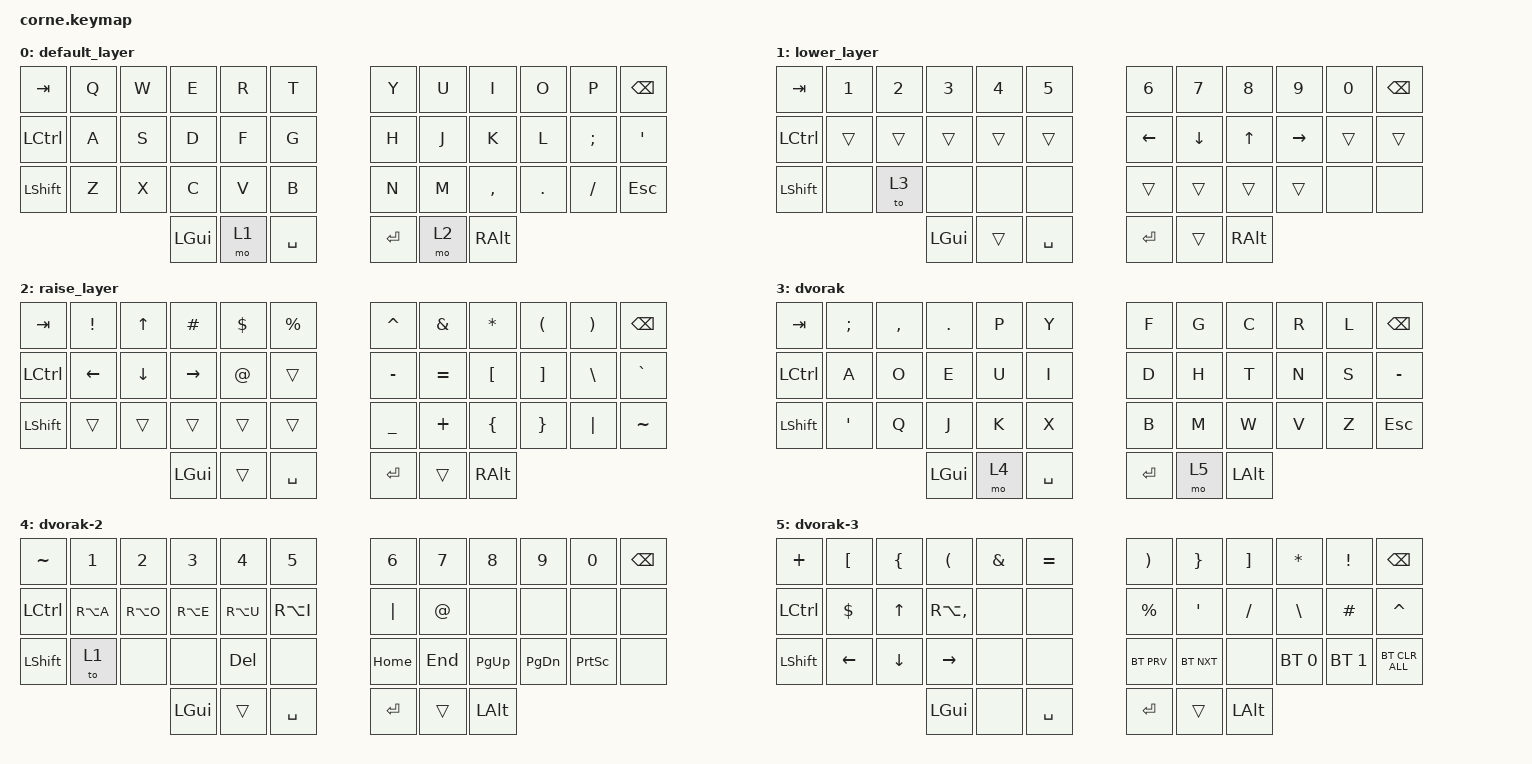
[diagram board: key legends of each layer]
/*
 * Copyright (c) 2020 The ZMK Contributors
 *
 * SPDX-License-Identifier: MIT
 */

#include <behaviors.dtsi>
#include <dt-bindings/zmk/keys.h>
#include <dt-bindings/zmk/bt.h>

/ {
        keymap {
                compatible = "zmk,keymap";

                default_layer {
// -----------------------------------------------------------------------------------------
// |  TAB |  Q  |  W  |  E  |  R  |  T  |   |  Y  |  U   |  I  |  O  |  P  | BSPC |
// | CTRL |  A  |  S  |  D  |  F  |  G  |   |  H  |  J   |  K  |  L  |  ;  |  '   |
// | SHFT |  Z  |  X  |  C  |  V  |  B  |   |  N  |  M   |  ,  |  .  |  /  | ESC  |
//                    | GUI | LWR | SPC |   | ENT | RSE  | ALT |
                        bindings = <
   &kp TAB   &kp Q &kp W &kp E &kp R &kp T   &kp Y &kp U  &kp I     &kp O   &kp P    &kp BSPC
   &kp LCTRL &kp A &kp S &kp D &kp F &kp G   &kp H &kp J  &kp K     &kp L   &kp SEMI &kp SQT
   &kp LSHFT &kp Z &kp X &kp C &kp V &kp B   &kp N &kp M  &kp COMMA &kp DOT &kp FSLH &kp ESC
                  &kp LGUI &mo 1 &kp SPACE   &kp RET &mo 2 &kp RALT
                        >;
                };
                lower_layer {
// -----------------------------------------------------------------------------------------
// |  TAB |  1  |  2  |  3  |  4  |  5  |   |  6  |  7  |  8  |  9  |  0  | BSPC |
// | CTRL |     |     |     |     |     |   | LFT | DWN |  UP | RGT |     |      |
// | SHFT |     | TO3 |     |     |     |   |     |     |     |     |     | BTCLR|
//                    | GUI |     | SPC |   | ENT |     | ALT |
                        bindings = <
   &kp TAB    &kp N1       &kp N2       &kp N3       &kp N4       &kp N5         &kp N6   &kp N7   &kp N8 &kp N9    &kp N0 &kp BSPC
   &kp LCTRL  &trans       &trans       &trans       &trans       &trans         &kp LEFT &kp DOWN &kp UP &kp RIGHT &trans &trans
   &kp LSHFT  &none &to 3 &none &none &none   &trans   &trans   &trans &trans    &none &none
                                           &kp LGUI  &trans       &kp SPACE      &kp RET  &trans   &kp RALT
                       >;
                };

                raise_layer {
// -----------------------------------------------------------------------------------------
// |  TAB |  !  |  UP |  #  |  $  |  %  |   |  ^  |  &  |  *  |  (  |  )  | BSPC |
// | CTRL | LFT | DWN | RGT |  @  |     |   |  -  |  =  |  [  |  ]  |  \  |  `   |
// | SHFT |     |     |     |     |     |   |  _  |  +  |  {  |  }  | "|" |  ~   |
//                    | GUI |     | SPC |   | ENT |     | ALT |
                        bindings = <
   &kp  TAB  &kp EXCL &kp UP &kp HASH &kp DLLR &kp PRCNT   &kp CARET &kp AMPS  &kp ASTRK &kp LPAR &kp RPAR &kp BSPC
   &kp LCTRL &kp LEFT   &kp DOWN &kp RIGHT   &kp AT   &trans      &kp MINUS &kp EQUAL &kp LBKT  &kp RBKT &kp BSLH &kp GRAVE
   &kp LSHFT &trans   &trans &trans   &trans   &trans      &kp UNDER &kp PLUS  &kp LBRC  &kp RBRC &kp PIPE &kp TILDE
                             &kp LGUI &trans   &kp SPACE   &kp RET   &trans    &kp RALT
                        >;
                };
                 dvorak {
// -----------------------------------------------------------------------------------------
// |  TAB |  ;  |  ,  |  .  |  p  |  y  |   |  f  |  g  |  c  |  r  |  l  | BSPC |
// | CTRL |  a  |  o  |  e  |  u  |  i  |   |  d  |  h  |  t  |  n  |  s  |  -  |
// | SHFT |  '  |  q  |  j  |  k  |  x  |   |  b  |  m  |  w  |  v  |  z  |  ESC   |
//                    | GUI | MO4 | SPC |   | ENT |  MO5 | ALT |
                   bindings = <
   &kp  TAB  &kp SEMI &kp COMMA &kp DOT &kp P &kp Y   &kp F &kp G  &kp C &kp R &kp L &kp BSPC
   &kp LCTRL &kp A   &kp O &kp E   &kp U  &kp I      &kp D &kp H &kp T  &kp N &kp S &kp MINUS
   &kp LSHFT &kp APOSTROPHE   &kp Q &kp J   &kp K   &kp X      &kp B  &kp M  &kp W  &kp V &kp Z &kp ESC
                             &kp LGUI &mo 4   &kp SPACE   &kp RET   &mo 5    &kp LALT
                        >;
                };
                dvorak-2 {
// -----------------------------------------------------------------------------------------
// |  ~   |  1  |  2  |  3  |  4  |  5  |   |  6  |  7  |  8  |  9  |  0  | BSPC |
// | CTRL |     |     |     |     |     |   |  PIPE  |  @  |    |    |    |      |
// | SHFT | TO1 |     |     | DEL |     |   |  HOME   |  END   |  PAGEUP   | PAGEDOWN  |  PRINTSCREEN  |      |
//                    | GUI |     | SPC |   | ENT |     | ALT |
                        bindings = <
   &kp TILDE   &kp N1 &kp N2 &kp N3 &kp N4 &kp N5   &kp N6 &kp N7  &kp N8 &kp N9 &kp N0 &kp BSPC
   &kp LCTRL &kp RA(A)   &kp RA(O) &kp RA(E)   &kp RA(U)   &kp RA(I)      &kp PIPE  &kp AT &none  &none &none &none
   &kp LSHFT &to 1   &none &none   &kp DEL   &none      &kp HOME  &kp END &kp PG_UP  &kp PG_DN &kp PSCRN &none
                             &kp LGUI &trans   &kp SPACE   &kp RET   &trans    &kp LALT
                        >;
                };
                dvorak-3 {
// ----------------------------------------------------------------------------------------
// |  +   |  [  |  {  |  (  |  &  |  =  |   |  )  |  }  |  ]  |  *  |  !  | BSPC |
// | CTRL |  $  |  UP |  cedila   |     |     |   |  %  |  '  |  /  |  \  |  #  | CARET |
// | SHFT | LFT | DWN | RGT |     |     |   |     |     |     |  btpr1   |  btpr2   |  btclear    |
//                    | GUI |     | SPC |   | ENT |     | ALT |
                        bindings = <
   &kp PLUS  &kp LBKT &kp LBRC &kp LPAR &kp AMPS &kp EQUAL   &kp RPAR  &kp RBRC  &kp RBKT &kp ASTRK &kp EXCL &kp BSPC
   &kp LCTRL &kp DLLR   &kp UP &kp RA(COMMA)   &none   &none      &kp PRCNT  &kp SQT &kp FSLH  &kp BSLH &kp HASH &kp CARET
   &kp LSHFT &kp LEFT   &kp DOWN &kp RIGHT   &none   &none      &bt BT_PRV  &bt BT_NXT  &none  &bt BT_SEL 0 &bt BT_SEL 1 &bt BT_CLR_ALL
                             &kp LGUI &none   &kp SPACE   &kp RET   &trans    &kp LALT
                        >;
                };
        };
};
